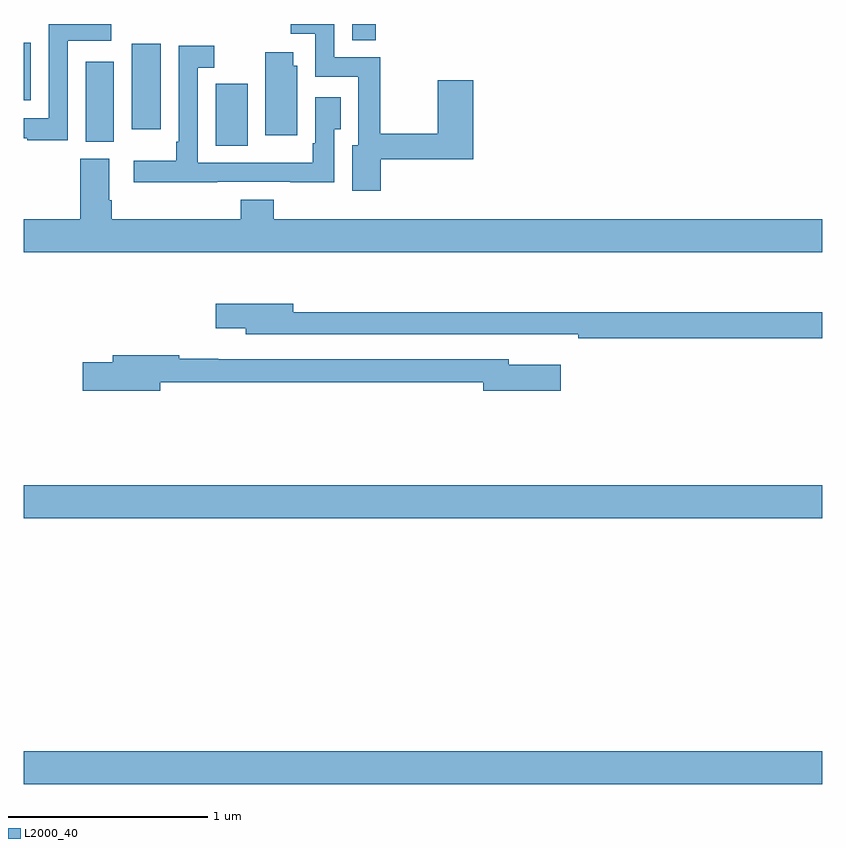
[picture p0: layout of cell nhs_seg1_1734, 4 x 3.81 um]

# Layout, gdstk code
import gdstk
lib = gdstk.Library(unit=1e-6, precision=1e-09)
def R(c, l, rs):  # rectangles x0, y0, x1, y1
    for r in rs: c.add(gdstk.rectangle(r[:2], r[2:], *l))
def P(c, l, *ps):  # polygons
    for p in ps: c.add(gdstk.Polygon(p, *l))
L2000_40 = (2000, 40)

nhs_seg1_1734 = lib.new_cell('nhs_seg1_1734')
R(nhs_seg1_1734, L2000_40, [(205,558.392,209,558.556), (205,559.724,209,559.888), (205.961,561.589,206.122,561.9), (205.31,561.61,205.45,562.009), (205.541,561.672,205.687,562.099), (205,561.818,205.036,562.105), (206.645,562.117,206.764,562.199)])
P(nhs_seg1_1734, L2000_40, [(205.221,562.116),(205.438,562.116),(205.438,562.199),(205.125,562.199),(205.125,561.727),(205,561.727),(205,561.626),(205.018,561.626),(205.018,561.616),(205.221,561.616)],
  [(206.789,561.522),(207.251,561.522),(207.251,561.916),(207.073,561.916),(207.073,561.65),(206.786,561.65),(206.786,562.032),(206.556,562.032),(206.556,562.199),(206.337,562.199),(206.337,562.149),(206.46,562.149),(206.46,561.936),(206.675,561.936),(206.675,561.591),(206.645,561.591),(206.645,561.363),(206.789,561.363)],
  [(205.969,561.408),(206.335,561.408),(206.335,561.407),(206.556,561.407),(206.556,561.673),(206.587,561.673),(206.587,561.832),(206.46,561.832),(206.46,561.601),(206.448,561.601),(206.448,561.505),(206.218,561.505),(206.218,561.504),(205.872,561.504),(205.872,561.981),(205.954,561.981),(205.954,562.09),(205.776,562.09),(205.776,561.61),(205.764,561.61),(205.764,561.514),(205.551,561.514),(205.551,561.407),(205.969,561.407)],
  [(206.371,561.99),(206.35,561.99),(206.35,562.057),(206.21,562.057),(206.21,561.642),(206.371,561.642)],
  [(209,561.22),(206.252,561.22),(206.252,561.319),(206.087,561.319),(206.087,561.22),(205.442,561.22),(205.442,561.316),(205.429,561.316),(205.429,561.525),(205.282,561.525),(205.282,561.22),(205,561.22),(205,561.056),(209,561.056)],
  [(209,560.755),(206.35,560.755),(206.35,560.797),(205.962,560.797),(205.962,560.675),(206.111,560.675),(206.111,560.646),(207.526,560.646),(207.526,560.645),(207.778,560.645),(207.778,560.626),(209,560.626)],
  [(205.684,560.404),(207.302,560.404),(207.302,560.362),(207.691,560.362),(207.691,560.491),(207.43,560.491),(207.43,560.52),(205.974,560.52),(205.974,560.521),(205.78,560.521),(205.78,560.54),(205.445,560.54),(205.445,560.504),(205.296,560.504),(205.296,560.362),(205.684,560.362)])

lib.write_gds('nhs_seg1_1734.gds')
